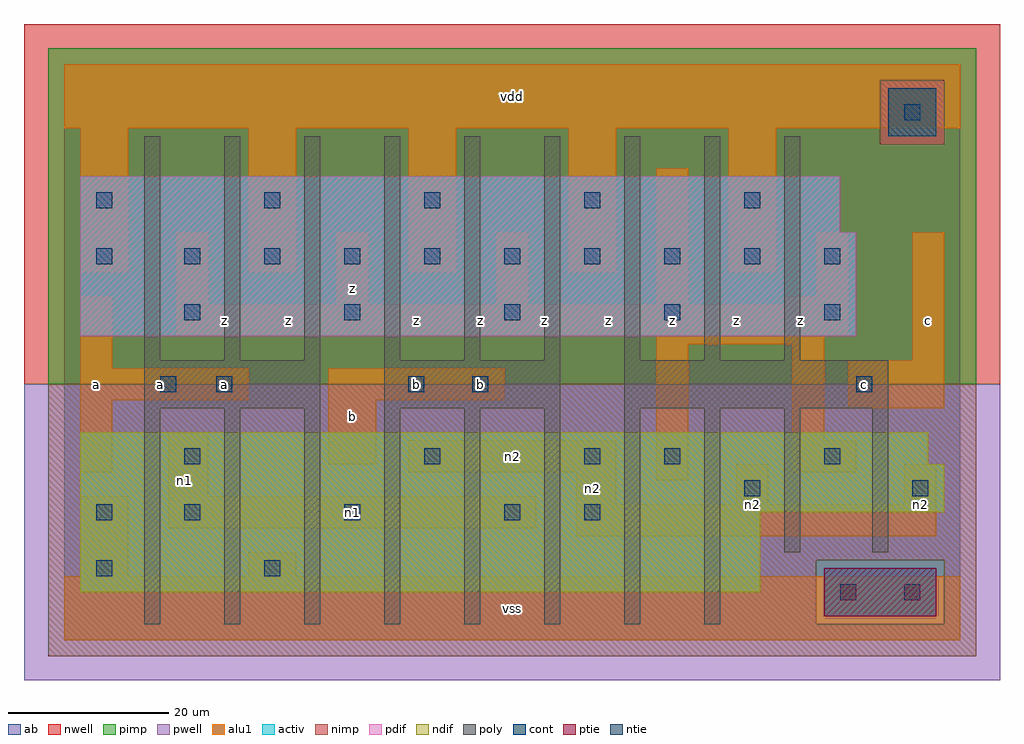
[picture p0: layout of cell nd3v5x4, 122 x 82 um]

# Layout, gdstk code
import gdstk
lib = gdstk.Library(unit=1e-6, precision=1e-09)
def R(c, l, rs):  # rectangles x0, y0, x1, y1
    for r in rs: c.add(gdstk.rectangle(r[:2], r[2:], *l))
def A(c, l, x, y, w, h, nx, ny, dx, dy):  # array of equal rectangles
    R(c, l, [(x+i*dx, y+j*dy, x+i*dx+w, y+j*dy+h) for i in range(nx) for j in range(ny)])
ndif = (3, 0)
pdif = (4, 0)
ntie = (5, 0)
ptie = (6, 0)
cont = (25, 0)
pwell = (41, 0)
nwell = (42, 0)
activ = (43, 0)
pimp = (44, 0)
nimp = (45, 0)
poly = (46, 0)
alu1 = (49, 0)
ab = (63, 0)

nd3v5x4 = lib.new_cell('nd3v5x4')
R(nd3v5x4, ndif, [(2,6,87,16), (2,16,110,22), (2,22,108,26)])
R(nd3v5x4, pdif, [(2,38,99,51), (2,51,97,58)])
R(nd3v5x4, ntie, [(103,63,109,69)])
R(nd3v5x4, ptie, [(95,3,109,9)])
A(nd3v5x4, cont, 15, 15, 2, 2, 3, 1, 20, 0)
A(nd3v5x4, cont, 15, 40, 2, 2, 5, 1, 20, 0)
A(nd3v5x4, cont, 15, 47, 2, 2, 9, 1, 10, 0)
A(nd3v5x4, cont, 25, 54, 2, 2, 4, 1, 20, 0)
R(nd3v5x4, cont, [(97,5,99,7), (105,5,107,7), (4,8,6,10), (25,8,27,10), (4,15,6,17), (65,15,67,17), (85,18,87,20), (106,18,108,20), (15,22,17,24), (45,22,47,24), (65,22,67,24), (75,22,77,24), (95,22,97,24), (12,31,14,33), (19,31,21,33), (43,31,45,33), (51,31,53,33), (99,31,101,33), (4,47,6,49), (4,54,6,56), (105,65,107,67)])
R(nd3v5x4, pwell, [(-5,-5,117,32)])
R(nd3v5x4, nwell, [(-5,32,117,77)])
R(nd3v5x4, activ, [(95,3,109,9), (2,6,87,16), (2,16,110,22), (2,22,108,26), (2,38,99,51), (2,51,97,58), (103,63,109,69)])
R(nd3v5x4, pimp, [(94,2,110,10), (-2,32,114,62), (-2,62,102,70), (110,62,114,70), (-2,70,114,74)])
R(nd3v5x4, nimp, [(-2,-2,114,2), (-2,2,94,10), (110,2,114,10), (-2,10,114,32), (102,62,110,70)])
A(nd3v5x4, poly, 10, 2, 2, 27, 8, 1, 10, 0)
A(nd3v5x4, poly, 10, 35, 2, 28, 9, 1, 10, 0)
R(nd3v5x4, poly, [(90,11,92,29), (101,11,103,29), (10,29,32,35), (40,29,62,35), (70,29,103,35)])
A(nd3v5x4, alu1, 14, 42, 4, 9, 3, 1, 20, 0)
A(nd3v5x4, alu1, 23, 46, 6, 18, 4, 1, 20, 0)
R(nd3v5x4, alu1, [(0,0,112,8), (2,8,8,18), (23,8,29,11), (64,13,109,17), (13,14,59,18), (64,17,69,21), (84,17,88,22), (105,17,109,22), (13,18,18,26), (74,20,78,37), (2,21,6,30), (43,21,69,25), (91,21,99,25), (33,22,39,30), (91,25,95,37), (98,29,110,35), (2,30,23,34), (33,30,55,34), (2,34,6,43), (106,35,110,51), (74,37,95,38), (14,38,98,42), (74,42,78,59), (90,42,98,43), (94,43,98,51), (2,46,8,64), (0,64,112,72)])
R(nd3v5x4, ab, [(0,0,112,72)])
nd3v5x4.add(gdstk.Label('n1', (15,20), layer=49, texttype=0))
nd3v5x4.add(gdstk.Label('n1', (36,16), layer=49, texttype=0))
nd3v5x4.add(gdstk.Label('n2', (66,19), layer=49, texttype=0))
nd3v5x4.add(gdstk.Label('n2', (56,23), layer=49, texttype=0))
nd3v5x4.add(gdstk.Label('n2', (107,17), layer=49, texttype=0))
nd3v5x4.add(gdstk.Label('n2', (86,17), layer=49, texttype=0))
nd3v5x4.add(gdstk.Label('a', (20,32), layer=49, texttype=0))
nd3v5x4.add(gdstk.Label('a', (12,32), layer=49, texttype=0))
nd3v5x4.add(gdstk.Label('a', (4,32), layer=49, texttype=0))
nd3v5x4.add(gdstk.Label('z', (20,40), layer=49, texttype=0))
nd3v5x4.add(gdstk.Label('b', (44,32), layer=49, texttype=0))
nd3v5x4.add(gdstk.Label('b', (52,32), layer=49, texttype=0))
nd3v5x4.add(gdstk.Label('b', (36,28), layer=49, texttype=0))
nd3v5x4.add(gdstk.Label('z', (44,40), layer=49, texttype=0))
nd3v5x4.add(gdstk.Label('z', (52,40), layer=49, texttype=0))
nd3v5x4.add(gdstk.Label('z', (28,40), layer=49, texttype=0))
nd3v5x4.add(gdstk.Label('z', (36,44), layer=49, texttype=0))
nd3v5x4.add(gdstk.Label('vss', (56,4), layer=49, texttype=0))
nd3v5x4.add(gdstk.Label('z', (68,40), layer=49, texttype=0))
nd3v5x4.add(gdstk.Label('z', (76,40), layer=49, texttype=0))
nd3v5x4.add(gdstk.Label('z', (60,40), layer=49, texttype=0))
nd3v5x4.add(gdstk.Label('vdd', (56,68), layer=49, texttype=0))
nd3v5x4.add(gdstk.Label('c', (100,32), layer=49, texttype=0))
nd3v5x4.add(gdstk.Label('z', (92,40), layer=49, texttype=0))
nd3v5x4.add(gdstk.Label('c', (108,40), layer=49, texttype=0))
nd3v5x4.add(gdstk.Label('z', (84,40), layer=49, texttype=0))

lib.write_gds('nd3v5x4.gds')
